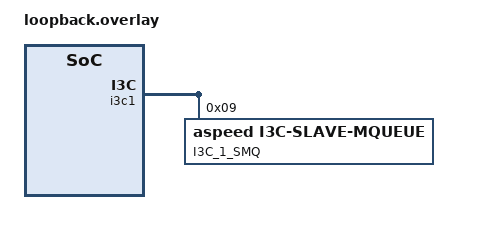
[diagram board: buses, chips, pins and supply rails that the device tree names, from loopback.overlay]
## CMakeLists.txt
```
# SPDX-License-Identifier: Apache-2.0

cmake_minimum_required(VERSION 3.13.1)

find_package(Zephyr HINTS $ENV{ZEPHYR_BASE})
project(i3c)

zephyr_sources_ifdef(CONFIG_I3C_SAMPLE_IMX3102 src/i3c-imx3102.c src/i3c-spd5118.c)
zephyr_sources_ifdef(CONFIG_I3C_SAMPLE_IMX3112 src/i3c-imx3112.c src/i3c-spd5118.c)
target_sources(app PRIVATE src/main.c)
```

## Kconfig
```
# Private config options for i3c sample app

# Copyright (c) 2021 ASPEED Technology Inc.
# SPDX-License-Identifier: Apache-2.0

mainmenu "I3C driver sample application"

config I3C_SAMPLE_LOOPBACK
	bool "i3c0 & i3c1 loopback"
	default n
	help
	  This sample demonstrates the i3c loopback.  Where i3c0 plays the role as the main master
	  and i3c1 plays the role as the slave.

config I3C_SAMPLE_IMX3102
	bool "access imx3102"
	default n
	help
	  This sample demonstrates the accesses to the slave device IMX3102.

config I3C_SAMPLE_IMX3112
	bool "access imx/iml3112"
	default n
	help
	  This sample demonstrates the accesses to the slave device IMX/IML3112.

source "Kconfig.zephyr"
```

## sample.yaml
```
sample:
  name: I3C driver sample
tests:
  sample.drivers.i3c:
    tags: I3C
    depends_on: i3c
    platform_allow: ast1030_evb ast2600_evb
    harness: console
    timeout: 10
    harness_config:
      type: one_line
      regex:
        - "I3C reading: (.*)"
```

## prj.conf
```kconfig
CONFIG_I3C=y
CONFIG_HEAP_MEM_POOL_SIZE=4096
CONFIG_ASSERT=y
```

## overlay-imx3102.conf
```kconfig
CONFIG_I3C_SAMPLE_IMX3102=y
```

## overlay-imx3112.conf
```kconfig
CONFIG_I3C_SAMPLE_IMX3112=y
```

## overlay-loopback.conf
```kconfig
CONFIG_I3C_SAMPLE_LOOPBACK=y
CONFIG_I3C_SLAVE=y
CONFIG_I3C_SLAVE_MQUEUE=y
```

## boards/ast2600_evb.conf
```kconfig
CONFIG_I3C_ASPEED=y
```

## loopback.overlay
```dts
&i3c1 {
	status = "okay";
	assigned-address = <0x9>;
	secondary;
	i3c1_smq:i3c-slave-mqueue@9 {
		compatible = "aspeed,i3c-slave-mqueue";
		reg = <0x9>;
		msg-size = <256>;
		num-of-msgs = <4>;
		mandatory-data-byte = <0xbf>;
		label = "I3C_1_SMQ";
		status = "okay";
	};
};
```

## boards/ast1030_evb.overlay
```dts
&i3c_gr {
	status = "okay";
	pull-up-resistor-ohm = <2000>, <2000>, <2000>, <2000>;
};

&i3c0 {
	status = "okay";
	assigned-address = <0x8>;
};

#if 0
&i3c1 {
	status = "okay";
};

&i3c2 {
	status = "okay";
	pinctrl-0 = <&pinctrl_i3c2_default>;
};

&i3c3 {
	status = "okay";
	pinctrl-0 = <&pinctrl_i3c3_default>;
};

&i3c4 {
	status = "okay";
};
&i3c5 {
	status = "okay";
};
#endif
```

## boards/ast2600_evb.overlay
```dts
&i3c_gr {
	status = "okay";
	pull-up-resistor-ohm = <2000>, <2000>, <2000>, <2000>, <2000>, <2000>;
};

&i3c0 {
	status = "okay";
	assigned-address = <0x8>;
};

&i3c1 {
	status = "okay";
	assigned-address = <0x8>;
};

&i3c2 {
	status = "okay";
	pinctrl-0 = <&pinctrl_hvi3c2_default>;
	assigned-address = <0x8>;
};
```

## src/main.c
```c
/*
 * Copyright (c) 2021 ASPEED Technology Inc.
 *
 * SPDX-License-Identifier: Apache-2.0
 */

#include <zephyr.h>
#include <sys/printk.h>
#include <string.h>
#include <device.h>
#include <drivers/i3c/i3c.h>

/* external reference */
int i3c_slave_mqueue_read(const struct device *dev, uint8_t *dest, int budget);
int i3c_slave_mqueue_write(const struct device *dev, uint8_t *src, int size);

#ifdef CONFIG_I3C_SAMPLE_IMX3112
/*
 * IMX3112: 1-to-2 multiplexier
 *
 *                                        SPD@50  SPD@51
 * +----------------- +                   |       |
 * | SoC              |              /----+-------+---...
 * |                  |   +---------+   child bus 0, select IMX3112 local port 0
 * | I3C controller - | --| IMX3112 |
 * |                  |   +---------+   child bus 1, select IMX3112 local port 1
 * +------------------+              \----+-------+---...
 *                                        |       |
 *                                        SPD@52  SPD@53
 */
void i3c_imx3112_reg_read(struct i3c_dev_desc *imx3112, uint8_t addr, uint8_t *data, int data_size);
void i3c_imx3112_reg_write(struct i3c_dev_desc *imx3112, uint8_t addr, uint8_t *data,
			   int data_size);
void i3c_imx3112_select(struct i3c_dev_desc *imx3112, int chan);
void i3c_spd5118_reg_read(struct i3c_dev_desc *spd5118, uint8_t addr, uint8_t *data, int data_size);

static void i3c_imx3112_test(void)
{
	const struct device *master;
	struct i3c_dev_desc slave[5];
	int ret, i;
	uint8_t data[2];

	master = device_get_binding(DT_LABEL(DT_NODELABEL(i3c2)));
	__ASSERT(master, "master device not found\n");

	slave[0].info.static_addr = 0x70;
	slave[1].info.static_addr = 0x50;
	slave[2].info.static_addr = 0x51;
	slave[3].info.static_addr = 0x52;
	slave[4].info.static_addr = 0x53;

	for (i = 0; i < 5; i++) {
		slave[i].info.i2c_mode = 1;
		slave[i].info.assigned_dynamic_addr = slave[i].info.static_addr;
		ret = i3c_master_attach_device(master, &slave[i]);
		__ASSERT(!ret, "failed to attach i2c slave[%d]\n", i);
	}

	/* errata: must write 1 to MR46[0] before accessing */
	data[0] = 0x1;
	ret = i3c_i2c_write(&slave[0], 0x46, data, 1);
	__ASSERT_NO_MSG(!ret);

	ret = i3c_master_send_rstdaa(master);
	__ASSERT_NO_MSG(!ret);

	/* select child bus 0 */
	i3c_imx3112_select(&slave[0], 0);
	for (i = 0; i < 3; i++) {
		ret = i3c_i2c_read(&slave[i], 0, data, 2);
		__ASSERT_NO_MSG(!ret);
		printk("device%d ID in I2C mode %02x %02x\n", i, data[0], data[1]);
	}

	/* select child bus 1 */
	i3c_imx3112_select(&slave[0], 1);

	for (i = 3; i < 5; i++) {
		ret = i3c_i2c_read(&slave[i], 0, data, 2);
		__ASSERT_NO_MSG(!ret);
		printk("device%d ID in I2C mode %02x %02x\n", i, data[0], data[1]);
	}

	/* select child bus 0 */
	i3c_imx3112_select(&slave[0], 0);

	/* bring the bus to I3C mode */
	for (i = 0; i < 5; i++) {
		i3c_master_detach_device(master, &slave[i]);
		slave[i].info.i2c_mode = 0;
		ret = i3c_master_attach_device(master, &slave[i]);
		if (ret) {
			printk("failed to attach i3c slave[%d]\n", i);
			return;
		}
	}

	ret = i3c_master_send_aasa(master);
	__ASSERT(!ret, "SETAASA failed\n");

	for (i = 0; i < 3; i++) {
		i3c_spd5118_reg_read(&slave[i], 0, data, 2);
		printk("device%d ID in I3C mode %02x %02x\n", i, data[0], data[1]);
	}

	/* select child bus 1 */
	i3c_imx3112_select(&slave[0], 1);

	for (i = 3; i < 5; i++) {
		i3c_spd5118_reg_read(&slave[i], 0, data, 2);
		printk("device%d ID in I3C mode %02x %02x\n", i, data[0], data[1]);
	}
}
#endif

#ifdef CONFIG_I3C_SAMPLE_IMX3102
/*
 * IMX3102: 2-to-1 multiplexier
 *
 * +------------------   +
 * | SoC                 |
 * |                     |
 * | I3C controller #0 - | --+
 * |                     |    \                  SPD@51
 * |                     |     +---------+       |
 * |                     |     | IMX3102 | ---+--+---- i3c bus
 * |                     |     +---------+    |
 * |                     |    /               SPD@50
 * | I3C controller #1 - | --+
 * |                     |
 * +---------------------+
 */
void i3c_imx3102_reg_read(struct i3c_dev_desc *imx3102, uint8_t addr, uint8_t *data, int data_size);
void i3c_imx3102_reg_write(struct i3c_dev_desc *imx3102, uint8_t addr, uint8_t *data,
			   int data_size);
void i3c_imx3102_release_ownership(struct i3c_dev_desc *imx3102);
void i3c_imx3102_init(struct i3c_dev_desc *imx3102);
void i3c_spd5118_reg_read(struct i3c_dev_desc *spd5118, uint8_t addr, uint8_t *data, int data_size);

static void i3c_imx3102_test(void)
{
	const struct device *master[2];
	struct i3c_dev_desc slave[2][3];
	int ret, i, j;
	uint8_t data[2];

	master[0] = device_get_binding(DT_LABEL(DT_NODELABEL(i3c0)));
	__ASSERT(master[0], "master device not found\n");
	master[1] = device_get_binding(DT_LABEL(DT_NODELABEL(i3c1)));
	__ASSERT(master[1], "master device not found\n");

	/* init descriptors to the slave devices */
	for (i = 0; i < 2; i++) {
		slave[i][0].info.static_addr = 0xf;
		slave[i][1].info.static_addr = 0x50;
		slave[i][2].info.static_addr = 0x51;
		for (j = 0; j < 3; j++) {
			slave[i][j].info.i2c_mode = 1;
			slave[i][j].info.assigned_dynamic_addr = slave[i][j].info.static_addr;
			ret = i3c_master_attach_device(master[i], &slave[i][j]);
			__ASSERT(!ret, "failed to attach i2c slave%d to master%d\n", j, i);
		}
	}

	ret = i3c_master_send_rstdaa(master[0]);
	__ASSERT(!ret, "RSTDAA failed %d\n", ret);

	/* init the local port */
	i3c_imx3102_init(&slave[0][0]);

	for (j = 0; j < 3; j++) {
		ret = i3c_i2c_read(&slave[0][j], 0, data, 2);
		__ASSERT(!ret, "i2c xfer failed\n");
		printk("[I3C0][I2C mode] device%d ID %02x %02x\n", j, data[0], data[1]);
	}

	i3c_imx3102_release_ownership(&slave[0][0]);

	for (j = 0; j < 3; j++) {
		ret = i3c_i2c_read(&slave[1][j], 0, data, 2);
		__ASSERT(!ret, "i2c xfer failed\n");
		printk("[I3C1][I2C mode] device%d ID %02x %02x\n", j, data[0], data[1]);
	}

	for (i = 0; i < 2; i++) {
		for (j = 0; j < 3; j++) {
			i3c_master_detach_device(master[i], &slave[i][j]);
			slave[i][j].info.i2c_mode = 0;
			ret = i3c_master_attach_device(master[i], &slave[i][j]);
			__ASSERT(!ret, "failed to attach i3c slave%d to master%d\n", j, i);
		}
	}

	ret = i3c_master_send_aasa(master[1]);
	__ASSERT_NO_MSG(!ret);

	i3c_imx3102_reg_read(&slave[1][0], 0, data, 2);
	printk("[I3C1][I3C mode] device0 ID %02x %02x\n", data[0], data[1]);
	for (j = 1; j < 3; j++) {
		i3c_spd5118_reg_read(&slave[1][j], 0, data, 2);
		printk("[I3C1][I3C mode] device%d ID %02x %02x\n", j, data[0], data[1]);
	}

	i3c_imx3102_release_ownership(&slave[1][0]);

	i3c_imx3102_reg_read(&slave[0][0], 0, data, 2);
	printk("[I3C0][I3C mode] device0 ID %02x %02x\n", data[0], data[1]);
	for (j = 1; j < 3; j++) {
		i3c_spd5118_reg_read(&slave[0][j], 0, data, 2);
		printk("[I3C0][I3C mode] device%d ID %02x %02x\n", j, data[0], data[1]);
	}
}
#endif

#ifdef CONFIG_I3C_SAMPLE_LOOPBACK
static uint8_t ibi_data[CONFIG_I3C_ASPEED_MAX_IBI_PAYLOAD];
static struct i3c_ibi_payload i3c_payload;
static struct k_sem ibi_complete;
static struct i3c_ibi_payload *sample_ibi_write_requested(struct i3c_dev_desc *desc)
{
	i3c_payload.buf = ibi_data;
	i3c_payload.size = 0;

	return &i3c_payload;
}

static void sample_ibi_write_done(struct i3c_dev_desc *desc)
{
	int i;
	uint8_t *buf = (uint8_t *)i3c_payload.buf;

	for (i = 0; i < i3c_payload.size; i++) {
		if ((i & 0xf) == 0) {
			printk("\n");
		}
		printk("%02x ", buf[i]);
	}
	printk("\n");
	k_sem_give(&ibi_complete);
}

static struct i3c_ibi_callbacks i3c_ibi_def_callbacks = {
	.write_requested = sample_ibi_write_requested,
	.write_done = sample_ibi_write_done,
};

/**
 * @brief i3c0-to-i3c1 loopback test
 *
 * i3c0 plays the role as the main master and i3c1 plays the role as the slave device.
 * Use SETAASA to assign the dynamic address.
 *
 */
static void i3c_loopback_test(void)
{
	const struct device *master, *slave_mq;
	struct i3c_dev_desc slave;
	struct i3c_priv_xfer xfer;
	int ret, i;
	uint8_t data[16], result[16];

	master = device_get_binding(DT_LABEL(DT_NODELABEL(i3c0)));
	if (!master) {
		printk("master device not found\n");
		return;
	}

	slave_mq = device_get_binding(DT_LABEL(DT_NODELABEL(i3c1_smq)));
	if (!slave_mq) {
		printk("slave-mq device not found\n");
		return;
	}

	slave.info.static_addr = DT_PROP(DT_BUS(DT_NODELABEL(i3c1_smq)), assigned_address);
	slave.info.assigned_dynamic_addr = slave.info.static_addr;
	slave.info.i2c_mode = 0;
	ret = i3c_master_attach_device(master, &slave);
	if (ret) {
		printk("failed to attach slave\n");
		return;
	}

	/*
	 * ASPEED IOP fix:
	 * Aspeed slave device needs for a dummy CCC to activate the slave mode.
	 * The slave device will NACK the dummy CCC so just ignore the first response in the master
	 * side.
	 */
	ret = i3c_master_send_rstdaa(master);
	ret = i3c_master_send_rstdaa(master);
	if (ret) {
		printk("RSTDAA failed %d\n", ret);
		return;
	}

	ret = i3c_master_send_aasa(master);
	if (ret) {
		printk("SETAASA failed\n");
		return;
	}

	ret = i3c_master_send_getpid(master, slave.info.dynamic_addr, &slave.info.pid);
	printk("slave pid = %llx\n", slave.info.pid);

	printk("bus init done\n");

	for (i = 0; i < 16; i++) {
		data[i] = i;
	}

	xfer.rnw = 0;
	xfer.len = 4;
	for (i = 0; i < 16; i += 4) {
		xfer.data.out = &data[i];
		ret = i3c_master_priv_xfer(&slave, &xfer, 1);
		__ASSERT(!ret, "failed to private xfer at loop %d\n", i);

		ret = i3c_slave_mqueue_read(slave_mq, &result[i], 4);
		__ASSERT(ret == 4, "failed to read mqueue at loop %d\n", i);
	}

	for (i = 0; i < 16; i++) {
		__ASSERT(result[i] == data[i], "data mismatch: got %d, expected %d\n", result[i],
			 data[i]);
	}

	i3c_master_request_ibi(&slave, &i3c_ibi_def_callbacks);
	ret = i3c_master_enable_ibi(&slave);
	__ASSERT(ret == 0, "failed to enable sir: %d\n", ret);

	for (i = 0; i < 16; i++) {
		data[i] = 15 - i;
	}

	k_sem_init(&ibi_complete, 0, 1);
	ret = i3c_slave_mqueue_write(slave_mq, data, 16);
	k_sem_take(&ibi_complete, K_FOREVER);

	if (IS_MDB_PENDING_READ_NOTIFY(i3c_payload.buf[0])) {
		xfer.rnw = 1;
		xfer.len = 16;
		xfer.data.in = result;
		ret = i3c_master_priv_xfer(&slave, &xfer, 1);

		for (i = 0; i < 16; i++) {
			__ASSERT(result[i] == data[i], "data mismatch: got %d, expected %d\n",
				 result[i], data[i]);
		}
	} else {
		for (i = 0; i < 16; i++) {
			__ASSERT(i3c_payload.buf[i + 1] == data[i],
				 "data mismatch: got %d, expected %d\n", i3c_payload.buf[i + 1],
				 data[i]);
		}
	}

	printk("loopback test pass\n");
}
#endif

void main(void)
{
#ifdef CONFIG_I3C_SAMPLE_IMX3102
	i3c_imx3102_test();
#endif

#ifdef CONFIG_I3C_SAMPLE_IMX3112
	i3c_imx3112_test();
#endif

#ifdef CONFIG_I3C_SAMPLE_LOOPBACK
	i3c_loopback_test();
#endif
	while (1) {
		k_sleep(K_MSEC(1000));
	}
}
```

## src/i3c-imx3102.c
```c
/*
 * Copyright (c) 2021 ASPEED Technology Inc.
 *
 * SPDX-License-Identifier: Apache-2.0
 */

#include <zephyr.h>
#include <sys/printk.h>
#include <string.h>
#include <device.h>
#include <drivers/i3c/i3c.h>

#define IMX3102_PORT_CONF		0x40
#define   IMX3102_PORT_CONF_M1_EN	BIT(7)
#define   IMX3102_PORT_CONF_S_EN	BIT(6)
#define IMX3102_PORT_SEL		0x41
#define   IMX3102_PORT_SEL_M1		BIT(7)
#define   IMX3102_PORT_SEL_S_EN		BIT(6)

void i3c_imx3102_reg_read(struct i3c_dev_desc *imx3102, uint8_t addr, uint8_t *data, int data_size)
{
	uint8_t out[2];
	int ret;

	out[0] = addr;
	out[1] = 0;
	ret = i3c_jesd403_read(imx3102, out, 2, data, data_size);
	__ASSERT_NO_MSG(!ret);
}

void i3c_imx3102_reg_write(struct i3c_dev_desc *imx3102, uint8_t addr, uint8_t *data, int data_size)
{
	uint8_t out[2];
	int ret;

	out[0] = addr;
	out[1] = 0;
	ret = i3c_jesd403_write(imx3102, out, 2, data, data_size);
	__ASSERT_NO_MSG(!ret);
}

void i3c_imx3102_release_ownership(struct i3c_dev_desc *imx3102)
{
	int ret;
	uint8_t select;

	if (imx3102->info.i2c_mode) {
		ret = i3c_i2c_read(imx3102, IMX3102_PORT_SEL, &select, 1);
		__ASSERT_NO_MSG(!ret);

		select ^= IMX3102_PORT_SEL_M1;
		ret = i3c_i2c_write(imx3102, IMX3102_PORT_SEL, &select, 1);
		__ASSERT_NO_MSG(!ret);
	} else {
		i3c_imx3102_reg_read(imx3102, IMX3102_PORT_SEL, &select, 1);
		select ^= IMX3102_PORT_SEL_M1;
		i3c_imx3102_reg_write(imx3102, 0x41, &select, 1);
	}
}

void i3c_imx3102_init(struct i3c_dev_desc *imx3102)
{
	uint8_t data[2];
	int ret;

	data[0] = IMX3102_PORT_CONF_M1_EN | IMX3102_PORT_CONF_S_EN;
	data[1] = IMX3102_PORT_SEL_S_EN;

	if (imx3102->info.i2c_mode) {
		ret = i3c_i2c_write(imx3102, IMX3102_PORT_CONF, data, 2);
		__ASSERT_NO_MSG(!ret);
	} else {
		i3c_imx3102_reg_write(imx3102, IMX3102_PORT_CONF, data, 2);
	}
}
```

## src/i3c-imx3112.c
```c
/*
 * Copyright (c) 2021 ASPEED Technology Inc.
 *
 * SPDX-License-Identifier: Apache-2.0
 */
#include <zephyr.h>
#include <sys/printk.h>
#include <string.h>
#include <device.h>
#include <drivers/i3c/i3c.h>

void i3c_imx3112_reg_read(struct i3c_dev_desc *imx3112, uint8_t addr, uint8_t *data,
				 int data_size)
{
	uint8_t out[2];
	int ret;

	out[0] = addr & GENMASK(6, 0);
	out[1] = addr >> 7;
	ret = i3c_jesd403_read(imx3112, out, 2, data, data_size);
	__ASSERT_NO_MSG(!ret);
}

void i3c_imx3112_reg_write(struct i3c_dev_desc *imx3112, uint8_t addr, uint8_t *data,
				  int data_size)
{
	uint8_t out[2];
	int ret;

	out[0] = addr & GENMASK(6, 0);
	out[1] = addr >> 7;
	ret = i3c_jesd403_write(imx3112, out, 2, data, data_size);
	__ASSERT_NO_MSG(!ret);
}

void i3c_imx3112_select(struct i3c_dev_desc *imx3112, int chan)
{
	int ret;
	uint8_t data[2];

	if (chan) {
		data[0] = 0x80;
		data[1] = 0x80;
	} else {
		data[0] = 0x40;
		data[1] = 0x40;
	}

	if (imx3112->info.i2c_mode) {
		ret = i3c_i2c_write(imx3112, 0x40, data, 2);
		__ASSERT_NO_MSG(!ret);
	} else {
		i3c_imx3112_reg_write(imx3112, 0x40, data, 2);
	}
}
```

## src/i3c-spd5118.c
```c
/*
 * Copyright (c) 2021 ASPEED Technology Inc.
 *
 * SPDX-License-Identifier: Apache-2.0
 */

#include <zephyr.h>
#include <sys/printk.h>
#include <string.h>
#include <device.h>
#include <drivers/i3c/i3c.h>

void i3c_spd5118_reg_read(struct i3c_dev_desc *spd5118, uint8_t addr, uint8_t *data, int data_size)
{
	uint8_t out[2] = { addr & GENMASK(5, 0), 0 };
	int ret;

	ret = i3c_jesd403_read(spd5118, out, 2, data, data_size);

	__ASSERT_NO_MSG(!ret);
}
```
